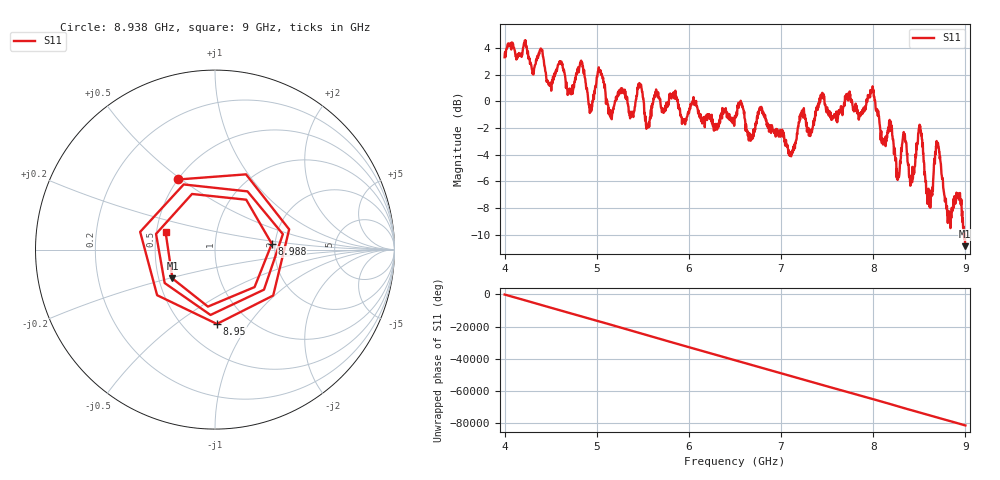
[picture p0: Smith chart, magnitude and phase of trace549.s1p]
! Created with skrf 1.8.0 (http://scikit-rf.org).
# Hz S RI R 50.0
!freq ReS11 ImS11
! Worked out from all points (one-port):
!   1601 points, 4 GHz to 9 GHz, reference 50 ohm
!   lowest |S11| = -10.9 dB at 8.997 GHz (marker M1), VSWR 1.80, Z = 29.5 - j10.3 ohm
!   |S11| at or under -10 dB: 8.98837 GHz to 8.993316 GHz (4.946 MHz wide, 0.055 % of centre); 8.994325 GHz to end of sweep
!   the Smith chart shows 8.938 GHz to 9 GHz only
!   S11 on the Smith chart (normalised r, x): 8.938 GHz: 0.50, +0.49; 8.95 GHz: 0.72, -0.72; 8.988 GHz: 1.92, +0.14; 9 GHz: 0.56, +0.12
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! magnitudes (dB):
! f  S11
! 4 GHz  3.3
! 4.625 GHz  2.8
! 4.706 GHz  1.0
! 4.838 GHz  2.9
! 4.931 GHz  -0.6
! 5.028 GHz  2.3
! 5.15 GHz  -0.7
! 5.25 GHz  0.8
! 5.381 GHz  -1.1
! 5.472 GHz  1.1
! 5.55 GHz  -1.9
! 5.875 GHz  0.0
! 6.5 GHz  -1.1
! 7.125 GHz  -3.6
! 7.228 GHz  -0.7
! 7.75 GHz  0.5
! 7.994 GHz  1.1
! 8.262 GHz  -5.4
! 8.375 GHz  -4.6
! 8.512 GHz  -2.1
! 8.6 GHz  -6.5
! 8.697 GHz  -3.2
! 8.816 GHz  -8.8
! 8.938 GHz  -7.1
! 8.95 GHz  -7.7
! 8.988 GHz  -10.0
! 8.997 GHz  -10.9
! 9 GHz  -10.7
